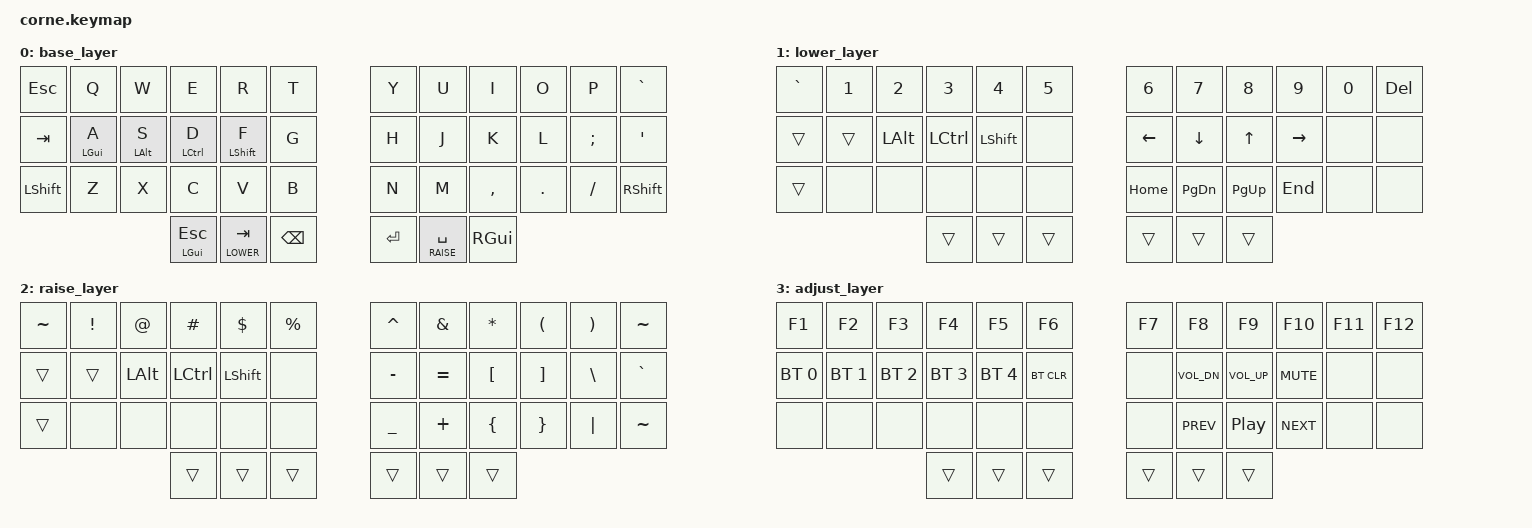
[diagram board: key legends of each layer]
/*
 * Corne 42 - ZMK Keymap
 *
 * macOS-optimized layout with GACS home row mods.
 * Designed for Neovim, Android Studio (IntelliJ), and CLI workflows.
 *
 * GACS home row mods (left hand only, pinky to index):
 *   A=Gui  S=Alt  D=Ctrl  F=Shift
 * Right hand is plain keys for Vim hold-to-repeat (j/k).
 *
 * Layers:
 *   0 BASE   - QWERTY + home row mods
 *   1 LOWER  - Numbers (row) + Vim-style nav (HJKL arrows)
 *   2 RAISE  - Symbols + brackets
 *   3 ADJUST - F-keys, Bluetooth, media (tri-layer: LOWER+RAISE)
 *
 * Thumb cluster:
 *   Left:  ESC/GUI | LOWER/TAB | BSPC
 *   Right: ENTER | RAISE/SPACE | RGUI
 */

#include <behaviors.dtsi>
#include <dt-bindings/zmk/keys.h>
#include <dt-bindings/zmk/bt.h>

#define BASE   0
#define LOWER  1
#define RAISE  2
#define ADJUST 3

/ {
    behaviors {
        hm: homerow_mod {
            compatible = "zmk,behavior-hold-tap";
            #binding-cells = <2>;
            tapping-term-ms = <280>;
            quick-tap-ms = <200>;
            require-prior-idle-ms = <150>;
            flavor = "balanced";
            bindings = <&kp>, <&kp>;
        };
    };

    conditional_layers {
        compatible = "zmk,conditional-layers";
        adjust_layer {
            if-layers = <LOWER RAISE>;
            then-layer = <ADJUST>;
        };
    };

    keymap {
        compatible = "zmk,keymap";

        base_layer {
// -----------------------------------------------------------------------------------------
// | ESC  |  Q  |  W  |  E  |  R  |  T  |   |  Y  |  U   |  I  |  O  |  P  |  `   |
// | LCTL | A/G | S/A | D/C | F/S |  G  |   |  H  |  J   |  K  |  L  |  ;  |  '   |
// | LSFT |  Z  |  X  |  C  |  V  |  B  |   |  N  |  M   |  ,  |  .  |  /  | RSFT |
//                     | ESC/GUI | LWR/TAB | BSPC |   | ENT | RSE/SPC | RGUI |
            bindings = <
    &kp ESC   &kp Q      &kp W      &kp E       &kp R       &kp T       &kp Y  &kp U       &kp I       &kp O      &kp P         &kp GRAVE
    &kp TAB   &hm LGUI A &hm LALT S &hm LCTRL D &hm LSHFT F &kp G       &kp H  &kp J       &kp K       &kp L      &kp SEMI      &kp SQT
    &kp LSHFT &kp Z      &kp X      &kp C       &kp V       &kp B       &kp N  &kp M       &kp COMMA   &kp DOT    &kp FSLH      &kp RSHFT
                                     &hm LGUI ESC &lt LOWER TAB &kp BSPC   &kp RET &lt RAISE SPACE &kp RGUI
            >;
        };

        lower_layer {
// -----------------------------------------------------------------------------------------
// |  `   |  1  |  2  |  3  |  4  |  5  |   |  6  |  7   |  8   |  9   |  0  | DEL  |
// |      |     | ALT | CTL | SFT |     |   | LFT | DWN  |  UP  | RGT  |     |      |
// |      |     |     |     |     |     |   | HOM | PGDN | PGUP | END  |     |      |
//                     |     |     |     |   |     |      |      |
            bindings = <
    &kp GRAVE &kp N1   &kp N2   &kp N3    &kp N4    &kp N5      &kp N6   &kp N7    &kp N8    &kp N9    &kp N0 &kp DEL
    &trans    &trans   &kp LALT &kp LCTRL &kp LSHFT &none       &kp LEFT &kp DOWN  &kp UP    &kp RIGHT &none  &none
    &trans    &none    &none    &none     &none     &none       &kp HOME &kp PG_DN &kp PG_UP &kp END   &none  &none
                                &trans    &trans    &trans      &trans   &trans    &trans
            >;
        };

        raise_layer {
// -----------------------------------------------------------------------------------------
// |  ~   |  !  |  @  |  #  |  $  |  %  |   |  ^  |  &  |  *  |  (  |  )  |  ~   |
// |      |     | ALT | CTL | SFT |     |   |  -  |  =  |  [  |  ]  |  \  |  `   |
// |      |     |     |     |     |     |   |  _  |  +  |  {  |  }  | "|" |  ~   |
//                     |     |     |     |   |     |     |     |
            bindings = <
    &kp TILDE &kp EXCL &kp AT   &kp HASH  &kp DLLR  &kp PRCNT   &kp CARET &kp AMPS  &kp ASTRK &kp LPAR &kp RPAR &kp TILDE
    &trans    &trans   &kp LALT &kp LCTRL &kp LSHFT &none       &kp MINUS &kp EQUAL &kp LBKT  &kp RBKT &kp BSLH &kp GRAVE
    &trans    &none    &none    &none     &none     &none       &kp UNDER &kp PLUS  &kp LBRC  &kp RBRC &kp PIPE &kp TILDE
                                &trans    &trans    &trans      &trans    &trans    &trans
            >;
        };

        adjust_layer {
// -----------------------------------------------------------------------------------------
// |  F1  | F2  | F3  | F4  | F5  | F6  |   | F7  |  F8  |  F9  | F10 | F11 | F12  |
// | BT0  | BT1 | BT2 | BT3 | BT4 |BTCLR|   |     | VOL- | VOL+ | MUTE|     |      |
// |      |     |     |     |     |     |   |     | PREV | PLAY | NEXT|     |      |
//                     |     |     |     |   |     |      |      |
            bindings = <
    &kp F1       &kp F2       &kp F3       &kp F4       &kp F5       &kp F6       &kp F7 &kp F8       &kp F9       &kp F10    &kp F11 &kp F12
    &bt BT_SEL 0 &bt BT_SEL 1 &bt BT_SEL 2 &bt BT_SEL 3 &bt BT_SEL 4 &bt BT_CLR   &none  &kp C_VOL_DN &kp C_VOL_UP &kp C_MUTE &none   &none
    &none        &none        &none        &none        &none        &none        &none  &kp C_PREV   &kp C_PP     &kp C_NEXT &none   &none
                                           &trans       &trans       &trans       &trans &trans       &trans
            >;
        };
    };
};
